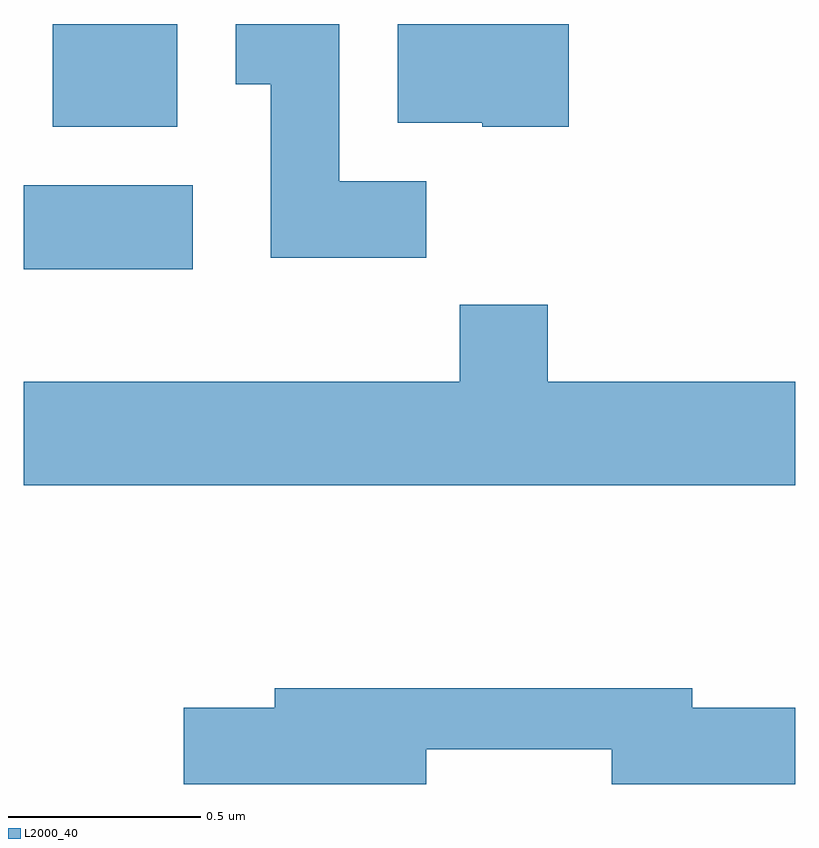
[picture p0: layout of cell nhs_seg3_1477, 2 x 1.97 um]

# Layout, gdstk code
import gdstk
lib = gdstk.Library(unit=1e-6, precision=1e-09)
def R(c, l, rs):  # rectangles x0, y0, x1, y1
    for r in rs: c.add(gdstk.rectangle(r[:2], r[2:], *l))
def P(c, l, *ps):  # polygons
    for p in ps: c.add(gdstk.Polygon(p, *l))
L2000_40 = (2000, 40)

nhs_seg3_1477 = lib.new_cell('nhs_seg3_1477')
R(nhs_seg3_1477, L2000_40, [(195.611,1224.256,196.049,1224.474), (195.686,1224.626,196.009,1224.892)])
P(nhs_seg3_1477, L2000_40, [(197.024,1224.892),(196.581,1224.892),(196.581,1224.636),(196.8,1224.636),(196.8,1224.626),(197.024,1224.626)],
  [(196.654,1224.484),(196.429,1224.484),(196.429,1224.892),(196.161,1224.892),(196.161,1224.736),(196.251,1224.736),(196.251,1224.286),(196.654,1224.286)],
  [(197.611,1223.964),(196.969,1223.964),(196.969,1224.164),(196.741,1224.164),(196.741,1223.964),(195.611,1223.964),(195.611,1223.696),(197.611,1223.696)],
  [(196.654,1223.011),(197.136,1223.011),(197.136,1222.921),(197.611,1222.921),(197.611,1223.119),(197.344,1223.119),(197.344,1223.169),(196.261,1223.169),(196.261,1223.119),(196.026,1223.119),(196.026,1222.921),(196.654,1222.921)])

lib.write_gds('nhs_seg3_1477.gds')
